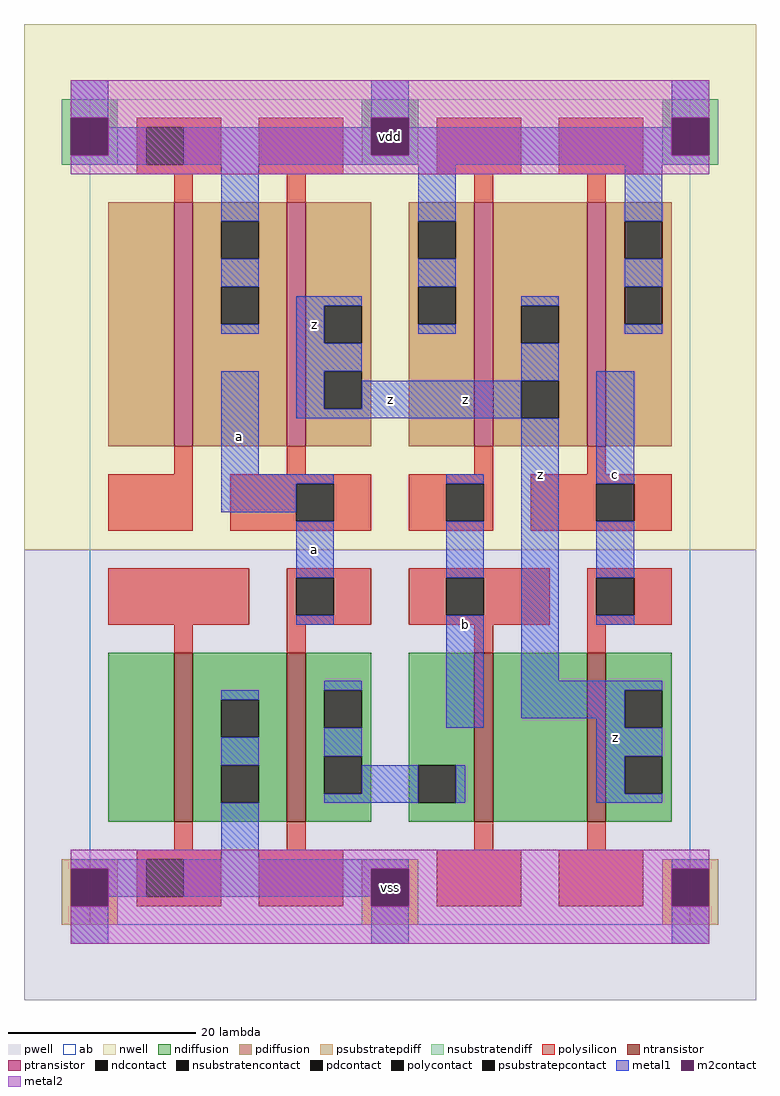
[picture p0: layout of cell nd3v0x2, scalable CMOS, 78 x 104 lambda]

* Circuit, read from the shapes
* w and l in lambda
.subckt nd3v0x2 a b c vdd vss z
M1 vss vss n1 vss nfet w=18 l=2
M2 n2 a vss vss nfet w=18 l=2
M3 n3 b n2 vss nfet w=18 l=2
M4 z c n3 vss nfet w=18 l=2
M5 vdd vdd n4 vdd pfet w=26 l=2
M6 z a vdd vdd pfet w=26 l=2
M7 z b vdd vdd pfet w=26 l=2
M8 vdd c z vdd pfet w=26 l=2
.ends

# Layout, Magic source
magic
tech scmos
<< ab >>
rect 0 0 64 88
<< pwell >>
rect -7 -8 71 40
<< nwell >>
rect -7 40 71 96
<< polysilicon >>
rect 5 85 14 86
rect 5 81 6 85
rect 10 81 14 85
rect 5 80 14 81
rect 18 80 27 86
rect 37 80 46 86
rect 50 80 59 86
rect 9 77 11 80
rect 21 77 23 80
rect 41 77 43 80
rect 53 77 55 80
rect 9 48 11 51
rect 21 48 23 51
rect 41 48 43 51
rect 53 48 55 51
rect 2 42 11 48
rect 15 47 30 48
rect 15 43 22 47
rect 26 43 30 47
rect 15 42 30 43
rect 34 47 43 48
rect 34 43 38 47
rect 42 43 43 47
rect 34 42 43 43
rect 47 47 62 48
rect 47 43 54 47
rect 58 43 62 47
rect 47 42 62 43
rect 2 32 17 38
rect 21 37 30 38
rect 21 33 22 37
rect 26 33 30 37
rect 21 32 30 33
rect 34 37 49 38
rect 34 33 38 37
rect 42 33 49 37
rect 34 32 49 33
rect 53 37 62 38
rect 53 33 54 37
rect 58 33 62 37
rect 53 32 62 33
rect 9 29 11 32
rect 21 29 23 32
rect 41 29 43 32
rect 53 29 55 32
rect 9 8 11 11
rect 21 8 23 11
rect 41 8 43 11
rect 53 8 55 11
rect 5 7 14 8
rect 5 3 6 7
rect 10 3 14 7
rect 5 2 14 3
rect 18 2 27 8
rect 37 2 46 8
rect 50 2 59 8
<< ndiffusion >>
rect 2 11 9 29
rect 11 24 21 29
rect 11 20 14 24
rect 18 20 21 24
rect 11 17 21 20
rect 11 13 14 17
rect 18 13 21 17
rect 11 11 21 13
rect 23 25 30 29
rect 23 21 25 25
rect 29 21 30 25
rect 23 18 30 21
rect 23 14 25 18
rect 29 14 30 18
rect 23 11 30 14
rect 34 17 41 29
rect 34 13 35 17
rect 39 13 41 17
rect 34 11 41 13
rect 43 11 53 29
rect 55 25 62 29
rect 55 21 57 25
rect 61 21 62 25
rect 55 18 62 21
rect 55 14 57 18
rect 61 14 62 18
rect 55 11 62 14
<< pdiffusion >>
rect 2 51 9 77
rect 11 75 21 77
rect 11 71 14 75
rect 18 71 21 75
rect 11 68 21 71
rect 11 64 14 68
rect 18 64 21 68
rect 11 51 21 64
rect 23 66 30 77
rect 23 62 25 66
rect 29 62 30 66
rect 23 59 30 62
rect 23 55 25 59
rect 29 55 30 59
rect 23 51 30 55
rect 34 75 41 77
rect 34 71 35 75
rect 39 71 41 75
rect 34 68 41 71
rect 34 64 35 68
rect 39 64 41 68
rect 34 51 41 64
rect 43 66 53 77
rect 43 62 46 66
rect 50 62 53 66
rect 43 58 53 62
rect 43 54 46 58
rect 50 54 53 58
rect 43 51 53 54
rect 55 75 62 77
rect 55 71 57 75
rect 61 71 62 75
rect 55 68 62 71
rect 55 64 57 68
rect 61 64 62 68
rect 55 51 62 64
<< metal1 >>
rect -2 86 2 90
rect 30 86 34 90
rect 2 82 6 85
rect -2 81 6 82
rect 10 82 30 85
rect 62 86 66 90
rect 34 82 62 85
rect 10 81 66 82
rect 14 75 18 81
rect 14 68 18 71
rect 35 75 39 81
rect 35 68 39 71
rect 14 63 18 64
rect 22 66 29 67
rect 22 62 25 66
rect 57 75 61 81
rect 57 68 61 71
rect 35 63 39 64
rect 46 66 50 67
rect 22 59 29 62
rect 14 48 18 59
rect 22 55 25 59
rect 57 63 61 64
rect 46 58 50 62
rect 29 55 46 58
rect 22 54 46 55
rect 14 47 26 48
rect 14 44 22 47
rect 22 37 26 43
rect 22 32 26 33
rect 38 47 42 48
rect 38 37 42 43
rect 25 25 29 26
rect 14 24 18 25
rect 14 17 18 20
rect 38 21 42 33
rect 46 26 50 54
rect 54 47 58 59
rect 54 37 58 43
rect 54 32 58 33
rect 46 25 61 26
rect 46 22 57 25
rect 54 21 57 22
rect 25 18 29 21
rect 54 18 61 21
rect 29 14 35 17
rect 25 13 35 14
rect 39 13 40 17
rect 54 14 57 18
rect 54 13 61 14
rect 14 7 18 13
rect -2 6 6 7
rect 2 3 6 6
rect 10 6 34 7
rect 10 3 30 6
rect -2 -2 2 2
rect 30 -2 34 2
rect 62 6 66 7
rect 62 -2 66 2
<< metal2 >>
rect -2 86 66 90
rect 2 82 30 86
rect 34 82 62 86
rect -2 80 66 82
rect -2 6 66 8
rect 2 2 30 6
rect 34 2 62 6
rect -2 -2 66 2
<< ntransistor >>
rect 9 11 11 29
rect 21 11 23 29
rect 41 11 43 29
rect 53 11 55 29
<< ptransistor >>
rect 9 51 11 77
rect 21 51 23 77
rect 41 51 43 77
rect 53 51 55 77
<< polycontact >>
rect 6 81 10 85
rect 22 43 26 47
rect 38 43 42 47
rect 54 43 58 47
rect 22 33 26 37
rect 38 33 42 37
rect 54 33 58 37
rect 6 3 10 7
<< ndcontact >>
rect 14 20 18 24
rect 14 13 18 17
rect 25 21 29 25
rect 25 14 29 18
rect 35 13 39 17
rect 57 21 61 25
rect 57 14 61 18
<< pdcontact >>
rect 14 71 18 75
rect 14 64 18 68
rect 25 62 29 66
rect 25 55 29 59
rect 35 71 39 75
rect 35 64 39 68
rect 46 62 50 66
rect 46 54 50 58
rect 57 71 61 75
rect 57 64 61 68
<< m2contact >>
rect -2 82 2 86
rect 30 82 34 86
rect 62 82 66 86
rect -2 2 2 6
rect 30 2 34 6
rect 62 2 66 6
<< psubstratepcontact >>
rect -2 2 2 6
rect 30 2 34 6
rect 62 2 66 6
<< nsubstratencontact >>
rect -2 82 2 86
rect 30 82 34 86
rect 62 82 66 86
<< psubstratepdiff >>
rect -3 6 3 7
rect -3 2 -2 6
rect 2 2 3 6
rect 29 6 35 7
rect 29 2 30 6
rect 34 2 35 6
rect 61 6 67 7
rect 61 2 62 6
rect 66 2 67 6
rect -3 0 3 2
rect 29 0 35 2
rect 61 0 67 2
<< nsubstratendiff >>
rect -3 86 3 88
rect 29 86 35 88
rect 61 86 67 88
rect -3 82 -2 86
rect 2 82 3 86
rect -3 81 3 82
rect 29 82 30 86
rect 34 82 35 86
rect 29 81 35 82
rect 61 82 62 86
rect 66 82 67 86
rect 61 81 67 82
<< labels >>
rlabel metal1 16 52 16 52 6 a
rlabel metal1 24 40 24 40 6 a
rlabel metal1 32 56 32 56 6 z
rlabel metal1 24 64 24 64 6 z
rlabel metal1 40 32 40 32 6 b
rlabel metal1 48 48 48 48 6 z
rlabel metal1 40 56 40 56 6 z
rlabel metal1 56 20 56 20 6 z
rlabel metal1 56 48 56 48 6 c
rlabel m2contact 32 4 32 4 6 vss
rlabel m2contact 32 84 32 84 6 vdd
<< end >>
